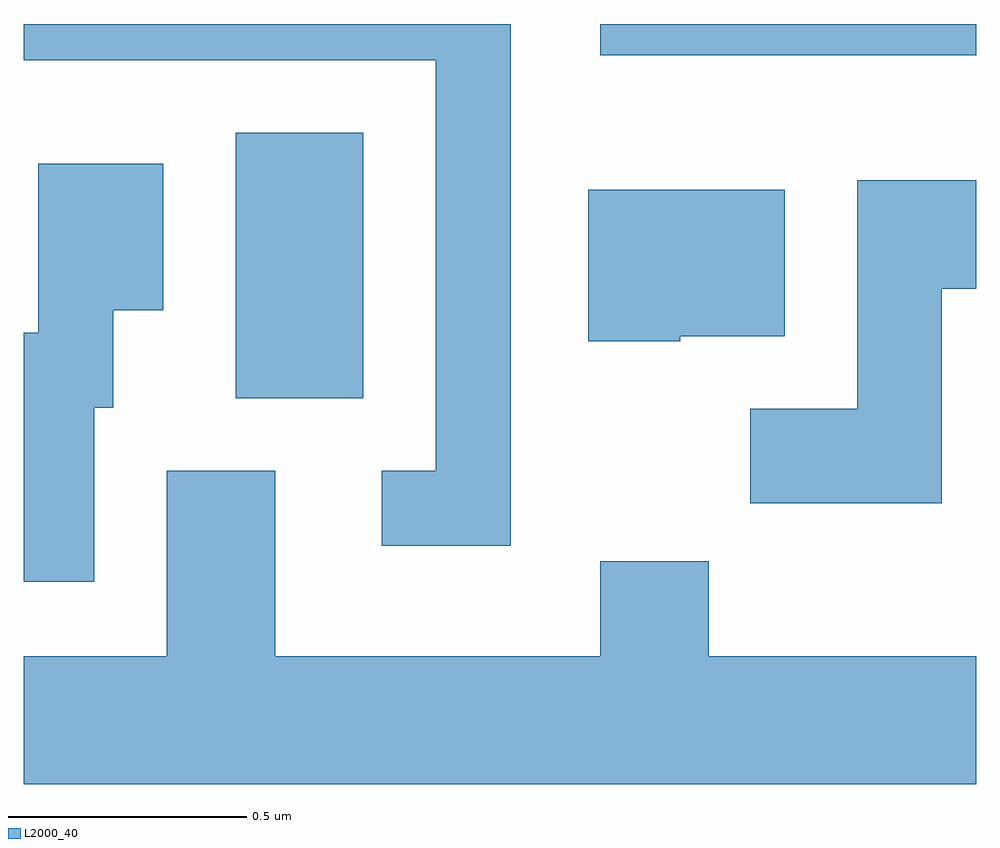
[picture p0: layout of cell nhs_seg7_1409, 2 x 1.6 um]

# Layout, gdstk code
import gdstk
lib = gdstk.Library(unit=1e-6, precision=1e-09)
def R(c, l, rs):  # rectangles x0, y0, x1, y1
    for r in rs: c.add(gdstk.rectangle(r[:2], r[2:], *l))
def P(c, l, *ps):  # polygons
    for p in ps: c.add(gdstk.Polygon(p, *l))
L2000_40 = (2000, 40)

nhs_seg7_1409 = lib.new_cell('nhs_seg7_1409')
R(nhs_seg7_1409, L2000_40, [(196.056,1708.466,196.324,1709.024), (196.821,1709.186,197.611,1709.252)])
P(nhs_seg7_1409, L2000_40, [(196.634,1709.252),(195.611,1709.252),(195.611,1709.176),(196.476,1709.176),(196.476,1708.314),(196.363,1708.314),(196.363,1708.156),(196.634,1708.156)],
  [(195.759,1708.446),(195.799,1708.446),(195.799,1708.651),(195.904,1708.651),(195.904,1708.959),(195.641,1708.959),(195.641,1708.604),(195.611,1708.604),(195.611,1708.081),(195.759,1708.081)],
  [(197.539,1708.696),(197.611,1708.696),(197.611,1708.924),(197.361,1708.924),(197.361,1708.444),(197.136,1708.444),(197.136,1708.246),(197.539,1708.246)],
  [(196.99,1708.596),(197.209,1708.596),(197.209,1708.904),(196.796,1708.904),(196.796,1708.586),(196.99,1708.586)],
  [(197.611,1707.924),(197.049,1707.924),(197.049,1708.124),(196.821,1708.124),(196.821,1707.924),(196.139,1707.924),(196.139,1708.314),(195.911,1708.314),(195.911,1707.924),(195.611,1707.924),(195.611,1707.656),(197.611,1707.656)])

lib.write_gds('nhs_seg7_1409.gds')
